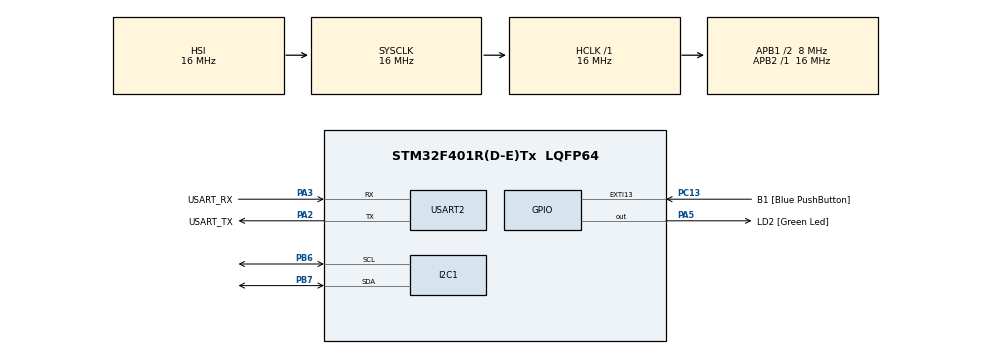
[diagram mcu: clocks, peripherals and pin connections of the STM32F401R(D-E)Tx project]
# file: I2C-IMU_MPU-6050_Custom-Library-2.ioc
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I2C1.I2C_Mode=I2C_Fast
Mcu.Family=STM32F4
Mcu.Name=STM32F401R(D-E)Tx
Mcu.Package=LQFP64
NVIC.PriorityGroup=NVIC_PRIORITYGROUP_4
PA13.GPIO_Label=TMS
PA13.Mode=Serial_Wire
PA13.Signal=SYS_JTMS-SWDIO
PA14.GPIO_Label=TCK
PA14.Mode=Serial_Wire
PA14.Signal=SYS_JTCK-SWCLK
PA2.GPIO_Label=USART_TX
PA2.GPIO_Mode=GPIO_MODE_AF_PP
PA2.GPIO_PuPd=GPIO_NOPULL
PA2.GPIO_Speed=GPIO_SPEED_FREQ_LOW
PA2.Mode=Asynchronous
PA2.Signal=USART2_TX
PA3.GPIO_Label=USART_RX
PA3.GPIO_Mode=GPIO_MODE_AF_PP
PA3.GPIO_PuPd=GPIO_NOPULL
PA3.GPIO_Speed=GPIO_SPEED_FREQ_LOW
PA3.Mode=Asynchronous
PA3.Signal=USART2_RX
PA5.GPIO_Label=LD2 [Green Led]
PA5.GPIO_Mode=GPIO_MODE_OUTPUT_PP
PA5.GPIO_PuPd=GPIO_NOPULL
PA5.GPIO_Speed=GPIO_SPEED_FREQ_LOW
PA5.Signal=GPIO_Output
PB3.GPIO_Label=SWO
PB3.Signal=SYS_JTDO-SWO
PB6.GPIO_Pu=GPIO_PULLUP
PB6.Mode=I2C
PB6.Signal=I2C1_SCL
PB7.GPIO_Pu=GPIO_PULLUP
PB7.Mode=I2C
PB7.Signal=I2C1_SDA
PC13-ANTI_TAMP.GPIO_Label=B1 [Blue PushButton]
PC13-ANTI_TAMP.GPIO_ModeDefaultEXTI=GPIO_MODE_IT_FALLING
PC13-ANTI_TAMP.GPIO_PuPd=GPIO_NOPULL
PC13-ANTI_TAMP.Signal=GPXTI13
PC14-OSC32_IN.Mode=LSE-External-Oscillator
PC14-OSC32_IN.Signal=RCC_OSC32_IN
PC15-OSC32_OUT.Mode=LSE-External-Oscillator
PC15-OSC32_OUT.Signal=RCC_OSC32_OUT
PH0\ -\ OSC_IN.Mode=HSE-External-Oscillator
PH0\ -\ OSC_IN.Signal=RCC_OSC_IN
PH1\ -\ OSC_OUT.Mode=HSE-External-Oscillator
PH1\ -\ OSC_OUT.Signal=RCC_OSC_OUT
ProjectManager.HeapSize=0x200
ProjectManager.StackSize=0x400
ProjectManager.TargetToolchain=STM32CubeIDE
RCC.48MHZClocksFreq_Value=48000000
RCC.AHBFreq_Value=16000000
RCC.APB1CLKDivider=RCC_HCLK_DIV2
RCC.APB1Freq_Value=8000000
RCC.APB1TimFreq_Value=16000000
RCC.APB2Freq_Value=16000000
RCC.APB2TimFreq_Value=16000000
RCC.CortexFreq_Value=16000000
RCC.HCLKFreq_Value=16000000
RCC.HSE_VALUE=8000000
RCC.HSI_VALUE=16000000
RCC.PLLN=336
RCC.PLLP=RCC_PLLP_DIV4
RCC.PLLQ=7
RCC.SYSCLKFreq_VALUE=16000000
RCC.VCOOutputFreq_Value=336000000
USART2.VirtualMode=VM_ASYNC
board=NUCLEO-F401RE

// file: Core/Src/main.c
/* USER CODE BEGIN Header */
/**
  ******************************************************************************
  * @file           : main.c
  * @brief          : Main program body
  ******************************************************************************
  * @attention
  *
  * Copyright (c) 2026 STMicroelectronics.
  * All rights reserved.
  *
  * This software is licensed under terms that can be found in the LICENSE file
  * in the root directory of this software component.
  * If no LICENSE file comes with this software, it is provided AS-IS.
  *
  ******************************************************************************
  */
/* USER CODE END Header */
#include "main.h"
#include "i2c.h"
#include "usart.h"
#include "gpio.h"

/* USER CODE BEGIN Includes */
#include "string.h"
#include "stdio.h"
#include "MPU6050.h"

/* USER CODE END Includes */

/* USER CODE BEGIN PD */

#define SAMPLE_TIME_LOG_MS 100

/* USER CODE END PD */

/* USER CODE BEGIN PV */

MPU6050 imu;

char buff[128]; //change if output is too long

/* USER CODE END PV */

void SystemClock_Config(void);

int main(void)
{

  /* MCU Configuration--------------------------------------------------------*/

  /* Reset of all peripherals, Initializes the Flash interface and the Systick. */
  HAL_Init();

  /* Configure the system clock */
  SystemClock_Config();

  /* Initialize all configured peripherals */
  MX_GPIO_Init();
  MX_I2C1_Init();
  MX_USART2_UART_Init();
  /* USER CODE BEGIN 2 */

  MPU6050_Initialise( &imu, &hi2c1 );
  /* USER CODE END 2 */

  /* Infinite loop */
  while (1)
  {

    /* USER CODE BEGIN 3 */

	  MPU6050_ReadTemperature(&imu);
	  MPU6050_ReadAccelerations(&imu);
	  MPU6050_ReadGyroscope(&imu);
	  // X m/s^2, Y m/s^2, Z m/s^2, Temp
	  sprintf(buff,
			  "MPU6050\r\n"
			  "x: %.2f ,y: %.2f,z: %.2f,\r\n"
			  "T: %.2f C,\r\n"
			  "X: %.2f,Y: %.2f,Z: %.2f"
			  "\r\n",
			  imu.acc_mps2[0], imu.acc_mps2[1], imu.acc_mps2[2],
			  imu.temp_C,
			  imu.gyro_dps[0], imu.gyro_dps[1], imu.gyro_dps[2]);

	  HAL_UART_Transmit(&huart2, (uint8_t *)buff, strlen(buff), HAL_MAX_DELAY);
	  HAL_Delay(500);
  /* USER CODE END 3 */
  }
}

void SystemClock_Config(void)
{
  RCC_OscInitTypeDef RCC_OscInitStruct = {0};
  RCC_ClkInitTypeDef RCC_ClkInitStruct = {0};

  /** Configure the main internal regulator output voltage
  */
  __HAL_RCC_PWR_CLK_ENABLE();
  __HAL_PWR_VOLTAGESCALING_CONFIG(PWR_REGULATOR_VOLTAGE_SCALE2);

  /** Initializes the RCC Oscillators according to the specified parameters
  * in the RCC_OscInitTypeDef structure.
  */
  RCC_OscInitStruct.OscillatorType = RCC_OSCILLATORTYPE_HSI;
  RCC_OscInitStruct.HSIState = RCC_HSI_ON;
  RCC_OscInitStruct.HSICalibrationValue = RCC_HSICALIBRATION_DEFAULT;
  RCC_OscInitStruct.PLL.PLLState = RCC_PLL_NONE;
  if (HAL_RCC_OscConfig(&RCC_OscInitStruct) != HAL_OK)
  {
    Error_Handler();
  }

  /** Initializes the CPU, AHB and APB buses clocks
  */
  RCC_ClkInitStruct.ClockType = RCC_CLOCKTYPE_HCLK|RCC_CLOCKTYPE_SYSCLK
                              |RCC_CLOCKTYPE_PCLK1|RCC_CLOCKTYPE_PCLK2;
  RCC_ClkInitStruct.SYSCLKSource = RCC_SYSCLKSOURCE_HSI;
  RCC_ClkInitStruct.AHBCLKDivider = RCC_SYSCLK_DIV1;
  RCC_ClkInitStruct.APB1CLKDivider = RCC_HCLK_DIV2;
  RCC_ClkInitStruct.APB2CLKDivider = RCC_HCLK_DIV1;

  if (HAL_RCC_ClockConfig(&RCC_ClkInitStruct, FLASH_LATENCY_0) != HAL_OK)
  {
    Error_Handler();
  }
}

void Error_Handler(void)
{
  __disable_irq();
  while (1)
  {
  }
}
